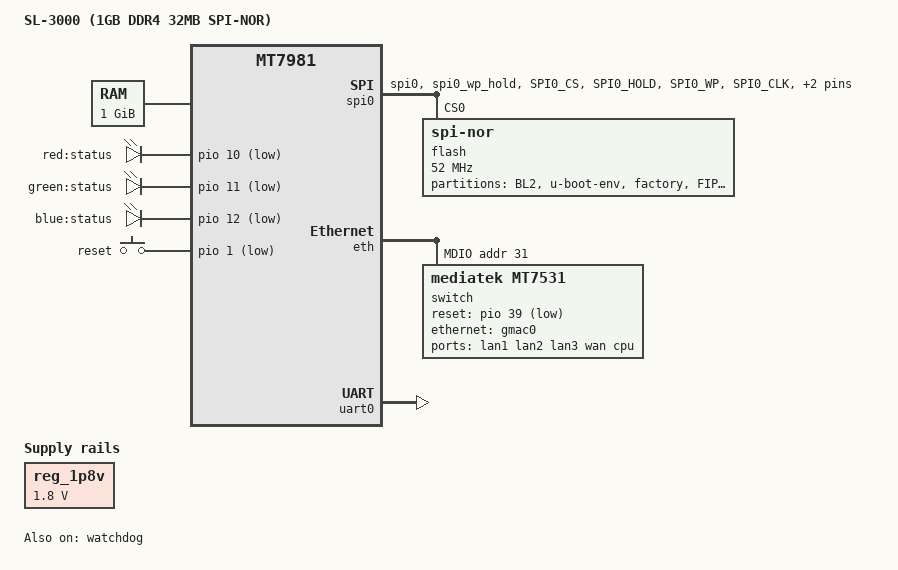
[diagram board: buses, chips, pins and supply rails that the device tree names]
/dts-v1/;
#include "mt7981.dtsi"
#include <dt-bindings/gpio/gpio.h>
#include <dt-bindings/input/input.h>
#include <dt-bindings/leds/common.h>

/ {
	model = "SL-3000 (1GB DDR4 32MB SPI-NOR)";
	compatible = "sl,3000-spi-nor", "mediatek,mt7981";

	aliases {
		serial0 = &uart0;
		led-boot = &status_green_led;
		led-failsafe = &status_red_led;
		led-running = &status_green_led;
		led-upgrade = &status_blue_led;
		label-mac-device = &gmac0;
	};

	chosen {
		stdout-path = "serial0:115200n8";
		/* 溯源诊断：强制 rootfs 挂载点在 mtdblock5 (firmware) */
		bootargs = "console=ttyS0,115200n1 loglevel=8 earlycon=uart8250,mmio32,0x11002000 root=/dev/mtdblock5 rootwait";
	};

	/* [物理修复]：1GB DDR4 完整内存映射，确保 ATF 训练后内核能全额识别 */
	memory@40000000 {
		device_type = "memory";
		reg = <0x0 0x40000000 0x0 0x40000000>;
	};

	reg_1p8v: regulator-1p8v {
		compatible = "regulator-fixed";
		regulator-name = "fixed-1.8V";
		regulator-min-microvolt = <1800000>;
		regulator-max-microvolt = <1800000>;
		regulator-always-on;
	};

	leds {
		compatible = "gpio-leds";
		status_red_led: status-red {
			label = "red:status";
			gpios = <&pio 10 GPIO_ACTIVE_LOW>;
		};
		status_green_led: status-green {
			label = "green:status";
			gpios = <&pio 11 GPIO_ACTIVE_LOW>;
			linux,default-trigger = "heartbeat";
		};
		status_blue_led: status-blue {
			label = "blue:status";
			gpios = <&pio 12 GPIO_ACTIVE_LOW>;
		};
	};

	keys {
		compatible = "gpio-keys";
		reset {
			label = "reset";
			linux,code = <KEY_RESTART>;
			gpios = <&pio 1 GPIO_ACTIVE_LOW>;
			debounce-interval = <60>;
		};
	};
};

/* [核心溯源]：SPI-NOR 32MB 救砖分区表物理锁定 */
&spi0 {
	pinctrl-names = "default";
	pinctrl-0 = <&spi0_flash_pins>;
	status = "okay";

	flash@0 {
		compatible = "jedec,spi-nor";
		reg = <0>;
		spi-max-frequency = <52000000>;

		partitions {
			compatible = "fixed-partitions";
			#address-cells = <1>;
			#size-cells = <1>;

			/* 0x0 - 1MB: 存放 BL2 (Preloader) */
			partition@0 {
				label = "BL2";
				reg = <0x0 0x100000>;
				read-only;
			};

			/* 0x100000 - 512KB: U-Boot 环境变量区 */
			partition@100000 {
				label = "u-boot-env";
				reg = <0x100000 0x80000>;
			};

			/* 0x180000 - 2MB: 厂家数据区 (无线参数) */
			partition@180000 {
				label = "factory";
				reg = <0x180000 0x200000>;
				read-only;
			};

			/* ⚡[救砖关键]：3.5MB 偏移处必须存放 FIP (U-Boot) */
			partition@380000 {
				label = "FIP";
				reg = <0x380000 0x200000>;
				read-only;
			};

			/* 5.5MB 之后为系统区 (Firmware) */
			partition@580000 {
				label = "firmware";
				reg = <0x580000 0x1980000>; /* 约 25.5MB */
			};

			/* 末尾预留小部分存储空间 */
			partition@1f00000 {
				label = "storage";
				reg = <0x1f00000 0x100000>;
			};
		};
	};
};

/* [2.5G 网口补丁]：连接至 MT7531 交换机 */
&eth {
	status = "okay";
	gmac0: mac@0 {
		compatible = "mediatek,eth-mac";
		reg = <0>;
		phy-mode = "2500base-x";
		fixed-link {
			speed = <2500>;
			full-duplex;
			pause;
		};
	};

	mdio: mdio-bus {
		#address-cells = <1>;
		#size-cells = <0>;

		switch@0 {
			compatible = "mediatek,mt7531";
			reg = <31>;
			reset-gpios = <&pio 39 GPIO_ACTIVE_LOW>;
			reset-delay-us = <10000>;

			ports {
				#address-cells = <1>;
				#size-cells = <0>;
				port@0 { reg = <0>; label = "lan1"; };
				port@1 { reg = <1>; label = "lan2"; };
				port@2 { reg = <2>; label = "lan3"; };
				port@3 { reg = <3>; label = "wan"; };
				port@6 {
					reg = <6>;
					label = "cpu";
					ethernet = <&gmac0>;
					phy-mode = "2500base-x";
					fixed-link {
						speed = <2500>;
						full-duplex;
						pause;
					};
				};
			};
		};
	};
};

/* 引脚复用审计：关闭 eMMC 以确保 SPI 总线信号纯净 */
&mmc0 { status = "disabled"; };

&pio {
	spi0_flash_pins: spi0-pins {
		mux {
			function = "spi";
			groups = "spi0", "spi0_wp_hold";
		};
		conf-pu {
			pins = "SPI0_CS", "SPI0_HOLD", "SPI0_WP";
			bias-pull-up;
			drive-strength = <MTK_DRIVE_8mA>;
		};
		conf-pd {
			pins = "SPI0_CLK", "SPI0_MOSI", "SPI0_MISO";
			drive-strength = <MTK_DRIVE_8mA>;
		};
	};
};

&uart0 { status = "okay"; };
&watchdog { status = "okay"; };
